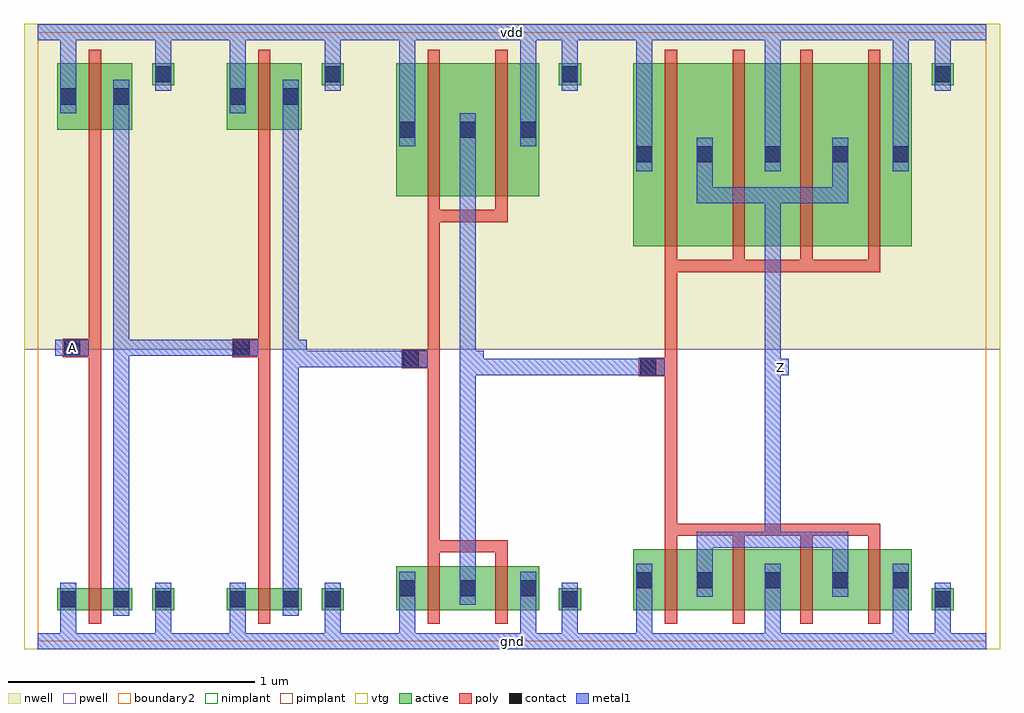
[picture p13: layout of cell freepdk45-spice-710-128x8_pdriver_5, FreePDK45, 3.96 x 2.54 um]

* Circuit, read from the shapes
.subckt freepdk45-spice-710-128x8_pdriver_5 A Z gnd vdd
M1 freepdk45-spice-710-128x8_pinv_1_1/A A gnd gnd nfet w=0.09u l=0.05u
M2 freepdk45-spice-710-128x8_pinv_8_2/A freepdk45-spice-710-128x8_pinv_1_1/A gnd gnd nfet w=0.09u l=0.05u
M3 freepdk45-spice-710-128x8_pinv_9_3/A freepdk45-spice-710-128x8_pinv_8_2/A gnd gnd nfet w=0.18u l=0.05u m=2
M4 Z freepdk45-spice-710-128x8_pinv_9_3/A gnd gnd nfet w=0.2475u l=0.05u m=4
M5 freepdk45-spice-710-128x8_pinv_1_1/A A vdd vdd pfet w=0.27u l=0.05u
M6 freepdk45-spice-710-128x8_pinv_8_2/A freepdk45-spice-710-128x8_pinv_1_1/A vdd vdd pfet w=0.27u l=0.05u
M7 freepdk45-spice-710-128x8_pinv_9_3/A freepdk45-spice-710-128x8_pinv_8_2/A vdd vdd pfet w=0.54u l=0.05u m=2
M8 Z freepdk45-spice-710-128x8_pinv_9_3/A vdd vdd pfet w=0.7425u l=0.05u m=4
.ends

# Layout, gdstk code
import gdstk
lib = gdstk.Library(unit=1e-6, precision=5e-10)
def R(c, l, rs):  # rectangles x0, y0, x1, y1
    for r in rs: c.add(gdstk.rectangle(r[:2], r[2:], *l))
def A(c, l, x, y, w, h, nx, ny, dx, dy):  # array of equal rectangles
    R(c, l, [(x+i*dx, y+j*dy, x+i*dx+w, y+j*dy+h) for i in range(nx) for j in range(ny)])
active = (1, 0)
pwell = (2, 0)
nwell = (3, 0)
nimplant = (4, 0)
pimplant = (5, 0)
vtg = (6, 0)
poly = (9, 0)
contact = (10, 0)
metal1 = (11, 0)
boundary2 = (239, 0)

freepdk45_spice_710_128x = lib.new_cell('freepdk45-spice-710-128x8_contact_11')
R(freepdk45_spice_710_128x, active, [(0,0.0225,0.09,0.1125)])
R(freepdk45_spice_710_128x, nwell, [(-0.055,-0.0325,0.145,0.1675)])
R(freepdk45_spice_710_128x, pimplant, [(0,0.0225,0.09,0.1125)])
R(freepdk45_spice_710_128x, contact, [(0.0125,0.035,0.0775,0.1)])
R(freepdk45_spice_710_128x, metal1, [(0.0125,0,0.0775,0.135)])
R(freepdk45_spice_710_128x, boundary2, [(-0.055,-0.0325,0.145,0.1675)])

c_freepdk45_spice_710_128x = lib.new_cell('freepdk45-spice-710-128x8_pmos_m1_w0_270_sm1_dm1_da_p')
R(c_freepdk45_spice_710_128x, active, [(0,0,0.305,0.27)])
R(c_freepdk45_spice_710_128x, nwell, [(-0.08,-0.08,0.385,0.35)])
R(c_freepdk45_spice_710_128x, pimplant, [(0,0,0.305,0.27)])
R(c_freepdk45_spice_710_128x, vtg, [(-0.08,-0.08,0.385,0.35)])
R(c_freepdk45_spice_710_128x, poly, [(0.1275,-0.055,0.1775,0.325), (0.1275,-0.055,0.1775,0.325)])
R(c_freepdk45_spice_710_128x, metal1, [(0.0125,0.0675,0.0775,0.2025), (0.2275,0.0675,0.2925,0.2025)])
R(c_freepdk45_spice_710_128x, boundary2, [(-0.08,-0.08,0.385,0.35)])
c_freepdk45_spice_710_128x.add(gdstk.Reference(freepdk45_spice_710_128x, (0,0.0675)))
c_freepdk45_spice_710_128x.add(gdstk.Reference(freepdk45_spice_710_128x, (0.215,0.0675)))
c_freepdk45_spice_710_128x.add(gdstk.Label('G', (0.1525,0.135), layer=9, texttype=0))
c_freepdk45_spice_710_128x.add(gdstk.Label('S', (0.045,0.135), layer=11, texttype=0))
c_freepdk45_spice_710_128x.add(gdstk.Label('D', (0.26,0.135), layer=11, texttype=0))

c_freepdk45_spice_710_128x_ = lib.new_cell('freepdk45-spice-710-128x8_contact_10')
R(c_freepdk45_spice_710_128x_, active, [(0,0.0225,0.09,0.1125)])
R(c_freepdk45_spice_710_128x_, pwell, [(-0.055,-0.0325,0.145,0.1675)])
R(c_freepdk45_spice_710_128x_, nimplant, [(0,0.0225,0.09,0.1125)])
R(c_freepdk45_spice_710_128x_, contact, [(0.0125,0.035,0.0775,0.1)])
R(c_freepdk45_spice_710_128x_, metal1, [(0.0125,0,0.0775,0.135)])
R(c_freepdk45_spice_710_128x_, boundary2, [(-0.055,-0.0325,0.145,0.1675)])

c_freepdk45_spice_710_128x__ = lib.new_cell('freepdk45-spice-710-128x8_nmos_m1_w0_090_sm1_dm1_da_p')
R(c_freepdk45_spice_710_128x__, active, [(0,0,0.305,0.09)])
R(c_freepdk45_spice_710_128x__, pwell, [(-0.08,-0.08,0.385,0.17)])
R(c_freepdk45_spice_710_128x__, nimplant, [(0,0,0.305,0.09)])
R(c_freepdk45_spice_710_128x__, vtg, [(-0.08,-0.08,0.385,0.17)])
R(c_freepdk45_spice_710_128x__, poly, [(0.1275,-0.055,0.1775,0.145), (0.1275,-0.055,0.1775,0.145)])
R(c_freepdk45_spice_710_128x__, metal1, [(0.0125,-0.0225,0.0775,0.1125), (0.2275,-0.0225,0.2925,0.1125)])
R(c_freepdk45_spice_710_128x__, boundary2, [(-0.08,-0.08,0.385,0.17)])
c_freepdk45_spice_710_128x__.add(gdstk.Reference(c_freepdk45_spice_710_128x_, (0,-0.0225)))
c_freepdk45_spice_710_128x__.add(gdstk.Reference(c_freepdk45_spice_710_128x_, (0.215,-0.0225)))
c_freepdk45_spice_710_128x__.add(gdstk.Label('G', (0.1525,0.045), layer=9, texttype=0))
c_freepdk45_spice_710_128x__.add(gdstk.Label('S', (0.045,0.045), layer=11, texttype=0))
c_freepdk45_spice_710_128x__.add(gdstk.Label('D', (0.26,0.045), layer=11, texttype=0))

c_freepdk45_spice_710_128x___ = lib.new_cell('freepdk45-spice-710-128x8_contact_12')
R(c_freepdk45_spice_710_128x___, active, [(0,0.0225,0.09,0.1125)])
R(c_freepdk45_spice_710_128x___, nwell, [(-0.055,-0.0325,0.145,0.1675)])
R(c_freepdk45_spice_710_128x___, nimplant, [(0,0.0225,0.09,0.1125)])
R(c_freepdk45_spice_710_128x___, contact, [(0.0125,0.035,0.0775,0.1)])
R(c_freepdk45_spice_710_128x___, metal1, [(0.0125,0,0.0775,0.135)])
R(c_freepdk45_spice_710_128x___, boundary2, [(-0.055,-0.0325,0.145,0.1675)])

c_freepdk45_spice_710_128x____ = lib.new_cell('freepdk45-spice-710-128x8_contact_13')
R(c_freepdk45_spice_710_128x____, active, [(0,0.0225,0.09,0.1125)])
R(c_freepdk45_spice_710_128x____, pwell, [(-0.055,-0.0325,0.145,0.1675)])
R(c_freepdk45_spice_710_128x____, pimplant, [(0,0.0225,0.09,0.1125)])
R(c_freepdk45_spice_710_128x____, contact, [(0.0125,0.035,0.0775,0.1)])
R(c_freepdk45_spice_710_128x____, metal1, [(0.0125,0,0.0775,0.135)])
R(c_freepdk45_spice_710_128x____, boundary2, [(-0.055,-0.0325,0.145,0.1675)])

c_freepdk45_spice_710_128x_____ = lib.new_cell('freepdk45-spice-710-128x8_contact_14')
R(c_freepdk45_spice_710_128x_____, poly, [(0.03,0,0.105,0.075)])
R(c_freepdk45_spice_710_128x_____, contact, [(0.035,0.005,0.1,0.07)])
R(c_freepdk45_spice_710_128x_____, metal1, [(0,0.005,0.135,0.07)])
R(c_freepdk45_spice_710_128x_____, boundary2, [(0,0,0.135,0.075)])

c_freepdk45_spice_710_128x______ = lib.new_cell('freepdk45-spice-710-128x8_pinv_1')
R(c_freepdk45_spice_710_128x______, pwell, [(-0.055,-0.0325,0.7425,1.185)])
R(c_freepdk45_spice_710_128x______, nwell, [(-0.055,1.185,0.7425,2.505)])
R(c_freepdk45_spice_710_128x______, vtg, [(-0.055,-0.0325,0.7425,1.185), (-0.055,1.185,0.7425,2.505)])
R(c_freepdk45_spice_710_128x______, poly, [(0.2075,0.27,0.2575,2.02), (0.14,1.1525,0.2075,1.2275)])
R(c_freepdk45_spice_710_128x______, metal1, [(0,-0.0325,0.6875,0.0325), (0.0925,-0.0325,0.1575,0.1025), (0.4775,0,0.5425,0.17), (0.3075,0.1025,0.3725,2.2775), (0.0725,1.1575,0.2075,1.2225), (0.34,1.1575,0.405,1.2225), (0.0925,2.1425,0.1575,2.5025), (0.4775,2.3,0.5425,2.47), (0,2.4375,0.6875,2.5025)])
R(c_freepdk45_spice_710_128x______, boundary2, [(0,0,0.6875,2.47), (0,0,0.6875,2.47)])
c_freepdk45_spice_710_128x______.add(gdstk.Reference(c_freepdk45_spice_710_128x, (0.08,2.075)))
c_freepdk45_spice_710_128x______.add(gdstk.Reference(c_freepdk45_spice_710_128x__, (0.08,0.125)))
c_freepdk45_spice_710_128x______.add(gdstk.Reference(c_freepdk45_spice_710_128x___, (0.465,2.2325)))
c_freepdk45_spice_710_128x______.add(gdstk.Reference(c_freepdk45_spice_710_128x____, (0.465,0.1025)))
c_freepdk45_spice_710_128x______.add(gdstk.Reference(c_freepdk45_spice_710_128x_____, (0.0725,1.1525)))
c_freepdk45_spice_710_128x______.add(gdstk.Label('A', (0.14,1.19), layer=11, texttype=0))
c_freepdk45_spice_710_128x______.add(gdstk.Label('Z', (0.3725,1.19), layer=11, texttype=0))
c_freepdk45_spice_710_128x______.add(gdstk.Label('gnd', (0.344,0), layer=11, texttype=0))
c_freepdk45_spice_710_128x______.add(gdstk.Label('vdd', (0.344,2.47), layer=11, texttype=0))

c_freepdk45_spice_710_128x_______ = lib.new_cell('freepdk45-spice-710-128x8_pmos_m2_w0_540_sm1_dm1_da_p')
R(c_freepdk45_spice_710_128x_______, active, [(0,0,0.58,0.54)])
R(c_freepdk45_spice_710_128x_______, nwell, [(-0.08,-0.08,0.66,0.62)])
R(c_freepdk45_spice_710_128x_______, pimplant, [(0,0,0.58,0.54)])
R(c_freepdk45_spice_710_128x_______, vtg, [(-0.08,-0.08,0.66,0.62)])
R(c_freepdk45_spice_710_128x_______, poly, [(0.1275,-0.105,0.4525,-0.055), (0.1275,-0.055,0.1775,0.595), (0.4025,-0.055,0.4525,0.595)])
A(c_freepdk45_spice_710_128x_______, metal1, 0.0125, 0.2025, 0.065, 0.135, 3, 1, 0.245, 0)
R(c_freepdk45_spice_710_128x_______, boundary2, [(-0.08,-0.105,0.66,0.62)])
c_freepdk45_spice_710_128x_______.add(gdstk.Reference(freepdk45_spice_710_128x, (0,0.2025)))
c_freepdk45_spice_710_128x_______.add(gdstk.Reference(freepdk45_spice_710_128x, (0.245,0.2025)))
c_freepdk45_spice_710_128x_______.add(gdstk.Reference(freepdk45_spice_710_128x, (0.49,0.2025)))
c_freepdk45_spice_710_128x_______.add(gdstk.Label('G', (0.29,-0.08), layer=9, texttype=0))
c_freepdk45_spice_710_128x_______.add(gdstk.Label('S', (0.535,0.27), layer=11, texttype=0))
c_freepdk45_spice_710_128x_______.add(gdstk.Label('S', (0.045,0.27), layer=11, texttype=0))
c_freepdk45_spice_710_128x_______.add(gdstk.Label('D', (0.29,0.27), layer=11, texttype=0))

c_freepdk45_spice_710_128x________ = lib.new_cell('freepdk45-spice-710-128x8_nmos_m2_w0_180_sm1_dm1_da_p')
R(c_freepdk45_spice_710_128x________, active, [(0,0,0.58,0.18)])
R(c_freepdk45_spice_710_128x________, pwell, [(-0.08,-0.08,0.66,0.26)])
R(c_freepdk45_spice_710_128x________, nimplant, [(0,0,0.58,0.18)])
R(c_freepdk45_spice_710_128x________, vtg, [(-0.08,-0.08,0.66,0.26)])
R(c_freepdk45_spice_710_128x________, poly, [(0.1275,-0.055,0.1775,0.235), (0.4025,-0.055,0.4525,0.235), (0.1275,0.235,0.4525,0.285)])
A(c_freepdk45_spice_710_128x________, metal1, 0.0125, 0.0225, 0.065, 0.135, 3, 1, 0.245, 0)
R(c_freepdk45_spice_710_128x________, boundary2, [(-0.08,-0.08,0.66,0.285)])
c_freepdk45_spice_710_128x________.add(gdstk.Reference(c_freepdk45_spice_710_128x_, (0,0.0225)))
c_freepdk45_spice_710_128x________.add(gdstk.Reference(c_freepdk45_spice_710_128x_, (0.245,0.0225)))
c_freepdk45_spice_710_128x________.add(gdstk.Reference(c_freepdk45_spice_710_128x_, (0.49,0.0225)))
c_freepdk45_spice_710_128x________.add(gdstk.Label('G', (0.29,0.26), layer=9, texttype=0))
c_freepdk45_spice_710_128x________.add(gdstk.Label('S', (0.535,0.09), layer=11, texttype=0))
c_freepdk45_spice_710_128x________.add(gdstk.Label('S', (0.045,0.09), layer=11, texttype=0))
c_freepdk45_spice_710_128x________.add(gdstk.Label('D', (0.29,0.09), layer=11, texttype=0))

c_freepdk45_spice_710_128x_________ = lib.new_cell('freepdk45-spice-710-128x8_pinv_8')
R(c_freepdk45_spice_710_128x_________, pwell, [(-0.055,-0.0325,1.0175,1.185)])
R(c_freepdk45_spice_710_128x_________, nwell, [(-0.055,1.185,1.0175,2.505)])
R(c_freepdk45_spice_710_128x_________, vtg, [(-0.055,-0.0325,1.0175,1.185), (-0.055,1.185,1.0175,2.505)])
R(c_freepdk45_spice_710_128x_________, poly, [(0.2075,0.41,0.2575,1.7), (0.14,1.1075,0.2075,1.1825)])
R(c_freepdk45_spice_710_128x_________, metal1, [(0,-0.0325,0.9625,0.0325), (0.0925,-0.0325,0.1575,0.1475), (0.5825,-0.0325,0.6475,0.1475), (0.7525,0,0.8175,0.17), (0.3375,0.1475,0.4025,2.1425), (0.0725,1.1125,0.2075,1.1775), (0.37,1.1125,0.435,1.1775), (0.0925,2.0075,0.1575,2.5025), (0.5825,2.0075,0.6475,2.5025), (0.7525,2.3,0.8175,2.47), (0,2.4375,0.9625,2.5025)])
R(c_freepdk45_spice_710_128x_________, boundary2, [(0,0,0.9625,2.47), (0,0,0.9625,2.47)])
c_freepdk45_spice_710_128x_________.add(gdstk.Reference(c_freepdk45_spice_710_128x_______, (0.08,1.805)))
c_freepdk45_spice_710_128x_________.add(gdstk.Reference(c_freepdk45_spice_710_128x________, (0.08,0.125)))
c_freepdk45_spice_710_128x_________.add(gdstk.Reference(c_freepdk45_spice_710_128x___, (0.74,2.2325)))
c_freepdk45_spice_710_128x_________.add(gdstk.Reference(c_freepdk45_spice_710_128x____, (0.74,0.1025)))
c_freepdk45_spice_710_128x_________.add(gdstk.Reference(c_freepdk45_spice_710_128x_____, (0.0725,1.1075)))
c_freepdk45_spice_710_128x_________.add(gdstk.Label('A', (0.14,1.145), layer=11, texttype=0))
c_freepdk45_spice_710_128x_________.add(gdstk.Label('Z', (0.4025,1.145), layer=11, texttype=0))
c_freepdk45_spice_710_128x_________.add(gdstk.Label('gnd', (0.481,0), layer=11, texttype=0))
c_freepdk45_spice_710_128x_________.add(gdstk.Label('vdd', (0.481,2.47), layer=11, texttype=0))

c_freepdk45_spice_710_128x__________ = lib.new_cell('freepdk45-spice-710-128x8_pmos_m4_w0_743_sm1_dm1_da_p')
R(c_freepdk45_spice_710_128x__________, active, [(0,0,1.13,0.7425)])
R(c_freepdk45_spice_710_128x__________, nwell, [(-0.08,-0.08,1.21,0.8225)])
R(c_freepdk45_spice_710_128x__________, pimplant, [(0,0,1.13,0.7425)])
R(c_freepdk45_spice_710_128x__________, vtg, [(-0.08,-0.08,1.21,0.8225)])
A(c_freepdk45_spice_710_128x__________, poly, 0.1275, -0.055, 0.05, 0.8525, 4, 1, 0.275, 0)
R(c_freepdk45_spice_710_128x__________, poly, [(0.1275,-0.105,1.0025,-0.055)])
A(c_freepdk45_spice_710_128x__________, metal1, 0.0125, 0.305, 0.065, 0.135, 3, 1, 0.52, 0)
R(c_freepdk45_spice_710_128x__________, metal1, [(0.2575,0.175,0.8725,0.24), (0.2575,0.205,0.3225,0.37), (0.8075,0.205,0.8725,0.37)])
R(c_freepdk45_spice_710_128x__________, boundary2, [(-0.08,-0.105,1.21,0.8225)])
c_freepdk45_spice_710_128x__________.add(gdstk.Reference(freepdk45_spice_710_128x, (0,0.305)))
c_freepdk45_spice_710_128x__________.add(gdstk.Reference(freepdk45_spice_710_128x, (0.245,0.305)))
c_freepdk45_spice_710_128x__________.add(gdstk.Reference(freepdk45_spice_710_128x, (0.52,0.305)))
c_freepdk45_spice_710_128x__________.add(gdstk.Reference(freepdk45_spice_710_128x, (0.795,0.305)))
c_freepdk45_spice_710_128x__________.add(gdstk.Reference(freepdk45_spice_710_128x, (1.04,0.305)))
c_freepdk45_spice_710_128x__________.add(gdstk.Label('G', (0.565,-0.08), layer=9, texttype=0))
c_freepdk45_spice_710_128x__________.add(gdstk.Label('S', (0.045,0.3725), layer=11, texttype=0))
c_freepdk45_spice_710_128x__________.add(gdstk.Label('S', (1.085,0.3725), layer=11, texttype=0))
c_freepdk45_spice_710_128x__________.add(gdstk.Label('S', (0.565,0.3725), layer=11, texttype=0))
c_freepdk45_spice_710_128x__________.add(gdstk.Label('D', (0.565,0.2075), layer=11, texttype=0))

c_freepdk45_spice_710_128x___________ = lib.new_cell('freepdk45-spice-710-128x8_nmos_m4_w0_247_sm1_dm1_da_p')
R(c_freepdk45_spice_710_128x___________, active, [(0,0,1.13,0.2475)])
R(c_freepdk45_spice_710_128x___________, pwell, [(-0.08,-0.08,1.21,0.3275)])
R(c_freepdk45_spice_710_128x___________, nimplant, [(0,0,1.13,0.2475)])
R(c_freepdk45_spice_710_128x___________, vtg, [(-0.08,-0.08,1.21,0.3275)])
A(c_freepdk45_spice_710_128x___________, poly, 0.1275, -0.055, 0.05, 0.3575, 4, 1, 0.275, 0)
R(c_freepdk45_spice_710_128x___________, poly, [(0.1275,0.3025,1.0025,0.3525)])
A(c_freepdk45_spice_710_128x___________, metal1, 0.0125, 0.055, 0.065, 0.135, 3, 1, 0.52, 0)
R(c_freepdk45_spice_710_128x___________, metal1, [(0.2575,0.125,0.3225,0.29), (0.8075,0.125,0.8725,0.29), (0.2575,0.255,0.8725,0.32)])
R(c_freepdk45_spice_710_128x___________, boundary2, [(-0.08,-0.08,1.21,0.3525)])
c_freepdk45_spice_710_128x___________.add(gdstk.Reference(c_freepdk45_spice_710_128x_, (0,0.055)))
c_freepdk45_spice_710_128x___________.add(gdstk.Reference(c_freepdk45_spice_710_128x_, (0.245,0.055)))
c_freepdk45_spice_710_128x___________.add(gdstk.Reference(c_freepdk45_spice_710_128x_, (0.52,0.055)))
c_freepdk45_spice_710_128x___________.add(gdstk.Reference(c_freepdk45_spice_710_128x_, (0.795,0.055)))
c_freepdk45_spice_710_128x___________.add(gdstk.Reference(c_freepdk45_spice_710_128x_, (1.04,0.055)))
c_freepdk45_spice_710_128x___________.add(gdstk.Label('G', (0.565,0.3275), layer=9, texttype=0))
c_freepdk45_spice_710_128x___________.add(gdstk.Label('S', (0.045,0.1225), layer=11, texttype=0))
c_freepdk45_spice_710_128x___________.add(gdstk.Label('S', (0.565,0.1225), layer=11, texttype=0))
c_freepdk45_spice_710_128x___________.add(gdstk.Label('S', (1.085,0.1225), layer=11, texttype=0))
c_freepdk45_spice_710_128x___________.add(gdstk.Label('D', (0.565,0.2875), layer=11, texttype=0))

c_freepdk45_spice_710_128x____________ = lib.new_cell('freepdk45-spice-710-128x8_pinv_9')
R(c_freepdk45_spice_710_128x____________, pwell, [(-0.055,-0.0325,1.5675,1.185)])
R(c_freepdk45_spice_710_128x____________, nwell, [(-0.055,1.185,1.5675,2.505)])
R(c_freepdk45_spice_710_128x____________, vtg, [(-0.055,-0.0325,1.5675,1.185), (-0.055,1.185,1.5675,2.505)])
R(c_freepdk45_spice_710_128x____________, poly, [(0.2075,0.4775,0.2575,1.4975), (0.14,1.075,0.2075,1.15)])
A(c_freepdk45_spice_710_128x____________, metal1, 0.0925, -0.0325, 0.065, 0.2125, 3, 1, 0.52, 0)
A(c_freepdk45_spice_710_128x____________, metal1, 0.0925, 1.9075, 0.065, 0.595, 3, 1, 0.52, 0)
R(c_freepdk45_spice_710_128x____________, metal1, [(0,-0.0325,1.5125,0.0325), (1.3025,0,1.3675,0.17), (0.6125,0.38,0.6775,1.8425), (0.0725,1.08,0.2075,1.145), (0.645,1.08,0.71,1.145), (1.3025,2.3,1.3675,2.47), (0,2.4375,1.5125,2.5025)])
R(c_freepdk45_spice_710_128x____________, boundary2, [(0,0,1.5125,2.47), (0,0,1.5125,2.47)])
c_freepdk45_spice_710_128x____________.add(gdstk.Reference(c_freepdk45_spice_710_128x__________, (0.08,1.6025)))
c_freepdk45_spice_710_128x____________.add(gdstk.Reference(c_freepdk45_spice_710_128x___________, (0.08,0.125)))
c_freepdk45_spice_710_128x____________.add(gdstk.Reference(c_freepdk45_spice_710_128x___, (1.29,2.2325)))
c_freepdk45_spice_710_128x____________.add(gdstk.Reference(c_freepdk45_spice_710_128x____, (1.29,0.1025)))
c_freepdk45_spice_710_128x____________.add(gdstk.Reference(c_freepdk45_spice_710_128x_____, (0.0725,1.075)))
c_freepdk45_spice_710_128x____________.add(gdstk.Label('A', (0.14,1.1125), layer=11, texttype=0))
c_freepdk45_spice_710_128x____________.add(gdstk.Label('Z', (0.6775,1.1125), layer=11, texttype=0))
c_freepdk45_spice_710_128x____________.add(gdstk.Label('gnd', (0.756,0), layer=11, texttype=0))
c_freepdk45_spice_710_128x____________.add(gdstk.Label('vdd', (0.756,2.47), layer=11, texttype=0))

c_freepdk45_spice_710_128x_____________ = lib.new_cell('freepdk45-spice-710-128x8_pdriver_5')
R(c_freepdk45_spice_710_128x_____________, pwell, [(-0.055,-0.0325,3.905,1.185)])
R(c_freepdk45_spice_710_128x_____________, nwell, [(-0.055,1.185,3.905,2.505)])
R(c_freepdk45_spice_710_128x_____________, vtg, [(-0.055,-0.0325,3.905,1.185), (-0.055,1.185,3.905,2.505)])
R(c_freepdk45_spice_710_128x_____________, metal1, [(0,-0.0325,3.85,0.0325), (1.745,1.08,1.81,1.145), (1.7775,1.08,2.4775,1.145), (2.9825,1.08,3.0475,1.145), (1.0275,1.1125,1.0925,1.1775), (1.06,1.1125,1.515,1.1775), (1.745,1.1125,1.81,1.145), (1.0275,1.145,1.0925,1.19), (0.0725,1.1575,0.2075,1.2225), (0.3725,1.1575,0.8275,1.2225), (0,2.4375,3.85,2.5025)])
R(c_freepdk45_spice_710_128x_____________, boundary2, [(0,0,3.85,2.47), (0,0,3.85,2.47)])
c_freepdk45_spice_710_128x_____________.add(gdstk.Reference(c_freepdk45_spice_710_128x______, (0,0)))
c_freepdk45_spice_710_128x_____________.add(gdstk.Reference(c_freepdk45_spice_710_128x______, (0.6875,0)))
c_freepdk45_spice_710_128x_____________.add(gdstk.Reference(c_freepdk45_spice_710_128x_________, (1.375,0)))
c_freepdk45_spice_710_128x_____________.add(gdstk.Reference(c_freepdk45_spice_710_128x____________, (2.3375,0)))
c_freepdk45_spice_710_128x_____________.add(gdstk.Label('Z', (3.015,1.1125), layer=11, texttype=0))
c_freepdk45_spice_710_128x_____________.add(gdstk.Label('A', (0.14,1.19), layer=11, texttype=0))
c_freepdk45_spice_710_128x_____________.add(gdstk.Label('gnd', (1.925,0), layer=11, texttype=0))
c_freepdk45_spice_710_128x_____________.add(gdstk.Label('vdd', (1.925,2.47), layer=11, texttype=0))

lib.write_gds('freepdk45-spice-710-128x8_pdriver_5.gds')
